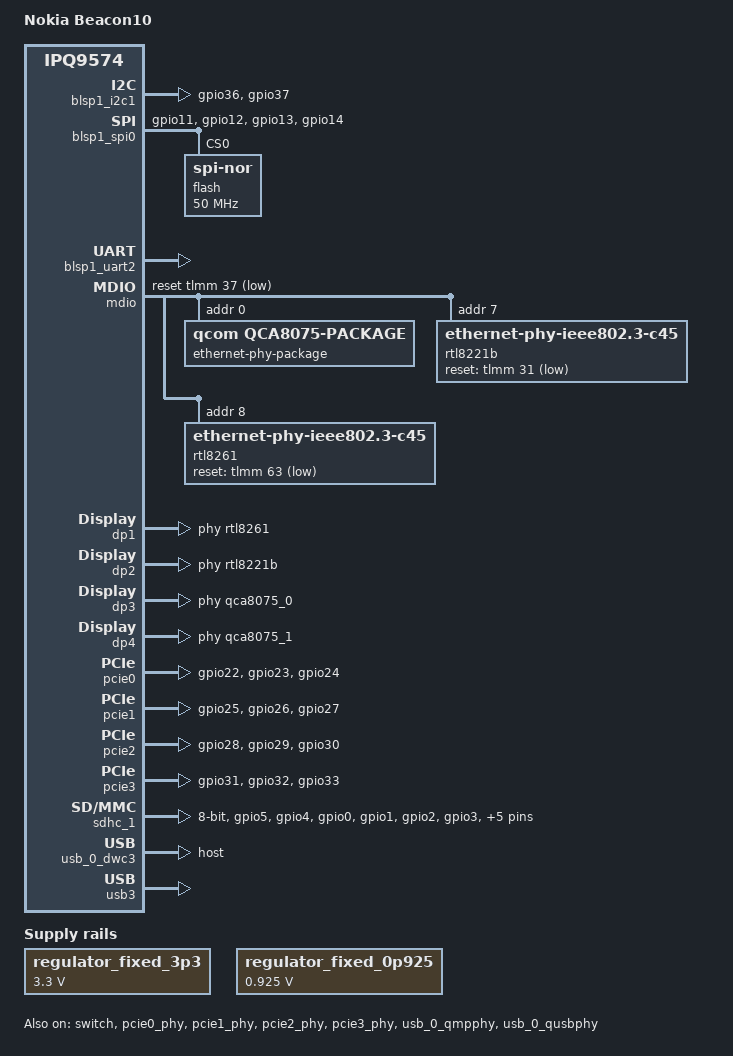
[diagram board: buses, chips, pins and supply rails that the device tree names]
// SPDX-License-Identifier: (GPL-2.0+ OR BSD-3-Clause)

/dts-v1/;

#include <dt-bindings/gpio/gpio.h>
#include "ipq9574.dtsi"

/ {
	model = "Nokia Beacon10";
	compatible = "Nokia,Beacon10", "qcom,ipq9574";

	aliases {
		serial0 = &blsp1_uart2;
		ethernet0 = &dp1;
		ethernet1 = &dp2;
		ethernet2 = &dp3;
		ethernet3 = &dp4;
	};

	chosen {
		stdout-path = "serial0:115200n8";
	};

	regulator_fixed_3p3: s3300 {
		compatible = "regulator-fixed";
		regulator-min-microvolt = <3300000>;
		regulator-max-microvolt = <3300000>;
		regulator-boot-on;
		regulator-always-on;
		regulator-name = "fixed_3p3";
	};

	regulator_fixed_0p925: s0925 {
		compatible = "regulator-fixed";
		regulator-min-microvolt = <925000>;
		regulator-max-microvolt = <925000>;
		regulator-boot-on;
		regulator-always-on;
		regulator-name = "fixed_0p925";
	};

};

&blsp1_i2c1 {
	pinctrl-0 = <&i2c1_default>;
	pinctrl-names = "default";
	status = "okay";
};

&blsp1_spi0 {
	pinctrl-0 = <&spi_0_default>;
	pinctrl-names = "default";
	status = "okay";

	flash@0 {
		compatible = "jedec,spi-nor";
		reg = <0>;
		#address-cells = <1>;
		#size-cells = <1>;
		spi-max-frequency = <50000000>;
	};
};

&blsp1_uart2 {
	pinctrl-0 = <&uart2_pins>;
	pinctrl-names = "default";
	status = "okay";
};

&mdio {
	status = "okay";
	pinctrl-0 = <&mdio_pins>;
	pinctrl-names = "default";
	reset-gpios = <&tlmm 37 GPIO_ACTIVE_LOW>;

	ethernet-phy-package@0 {
		#address-cells = <1>;
		#size-cells = <0>;
		compatible = "qcom,qca8075-package";
		reg = <0>;

		qca8075_0: ethernet-phy@0 {
			compatible = "ethernet-phy-ieee802.3-c22";
			reg = <0>;
		};

		qca8075_1: ethernet-phy@1 {
			compatible = "ethernet-phy-ieee802.3-c22";
			reg = <1>;
		};

		qca8075_2: ethernet-phy@2 {
			compatible = "ethernet-phy-ieee802.3-c22";
			reg = <2>;
		};

		qca8075_3: ethernet-phy@3 {
			compatible = "ethernet-phy-ieee802.3-c22";
			reg = <3>;
		};
	};

	rtl8221b: ethernet-phy@4 {
		compatible = "ethernet-phy-ieee802.3-c45";
		reg = <7>;
		reset-gpios = <&tlmm 31 GPIO_ACTIVE_LOW>;
	};

	rtl8261: ethernet-phy@5 {
		compatible = "ethernet-phy-ieee802.3-c45";
		reg = <8>;
		reset-gpios = <&tlmm 63 GPIO_ACTIVE_LOW>;
	};
};

 &switch {
 	status = "okay";

	pinctrl-names = "default";
                switch_lan_bmp = <(ESS_PORT1 | ESS_PORT2 | ESS_PORT3 | ESS_PORT4 | ESS_PORT5)>;
	switch_wan_bmp = <ESS_PORT6>;
	switch_mac_mode = <0x00>;  // PSGMII
	switch_mac_mode1 = <0x0e>; // 10GBase-R
	switch_mac_mode2 = <0x0d>; // UXSGMII
	bm_tick_mode = <0x00>;
	tm_tick_mode = <0x00>;

	qcom,port_phyinfo {
		
		port@1 {
			port_id = <1>;
			phy_address = <0x00>;
		};

		port@2 {
			port_id = <2>;
			phy_address = <0x01>;
		};

		port@5 {
			port_id = <5>;
			ethernet-phy-ieee802.3-c45;
			phy_address = <0x07>;
		};

		port@6 {
			port_id = <6>;
			ethernet-phy-ieee802.3-c45;
			phy_address = <0x08>;
		};
	};

};

&dp1 {
	status = "okay";
	label = "wan";
	phy-handle = <&rtl8261>;
};

&dp2 {
	status = "okay";
	label = "lan1";
	phy-handle = <&rtl8221b>;
};

&dp3{
	status = "okay";
	label = "lan2";
	phy-handle = <&qca8075_0>;
};

&dp4 {
	status = "okay";
	label = "lan3";
	phy-handle = <&qca8075_1>;
};

&pcie0 {
	pinctrl-0 = <&pcie0_default>;
	pinctrl-names = "default";

	perst-gpios = <&tlmm 23 GPIO_ACTIVE_LOW>;
	wake-gpios = <&tlmm 24 GPIO_ACTIVE_LOW>;
	status = "okay";
};

&pcie0_phy {
	status = "okay";
};

&pcie1 {
	pinctrl-0 = <&pcie1_default>;
	pinctrl-names = "default";

	perst-gpios = <&tlmm 26 GPIO_ACTIVE_LOW>;
	wake-gpios = <&tlmm 27 GPIO_ACTIVE_LOW>;
	status = "okay";
};

&pcie1_phy {
	status = "okay";
};

&pcie2 {
	pinctrl-0 = <&pcie2_default>;
	pinctrl-names = "default";

	perst-gpios = <&tlmm 29 GPIO_ACTIVE_LOW>;
	wake-gpios = <&tlmm 30 GPIO_ACTIVE_LOW>;
	status = "okay";
};

&pcie2_phy {
	status = "okay";
};

&pcie3 {
	pinctrl-0 = <&pcie3_default>;
	pinctrl-names = "default";

	perst-gpios = <&tlmm 32 GPIO_ACTIVE_LOW>;
	wake-gpios = <&tlmm 33 GPIO_ACTIVE_LOW>;
	status = "okay";
};

&pcie3_phy {
	status = "okay";
};

&rpm_requests {
	regulators {
		compatible = "qcom,rpm-mp5496-regulators";

		ipq9574_s1: s1 {
		/*
		 * During kernel bootup, the SoC runs at 800MHz with 875mV set by the bootloaders.
		 * During regulator registration, kernel not knowing the initial voltage,
		 * considers it as zero and brings up the regulators with minimum supported voltage.
		 * Update the regulator-min-microvolt with SVS voltage of 725mV so that
		 * the regulators are brought up with 725mV which is sufficient for all the
		 * corner parts to operate at 800MHz
		 */
			regulator-min-microvolt = <725000>;
			regulator-max-microvolt = <1075000>;
		};

		mp5496_l5: l5 {
			regulator-min-microvolt = <1800000>;
			regulator-max-microvolt = <1800000>;
			regulator-always-on;
			regulator-boot-on;
		};
	};
};

&sdhc_1 {
	bus-width = <8>;
	max-frequency = <384000000>;
	mmc-ddr-1_8v;
	mmc-hs200-1_8v;
	mmc-hs400-1_8v;
	mmc-hs400-enhanced-strobe;
	pinctrl-0 = <&sdc_default_state>;
	pinctrl-names = "default";
	status = "okay";
};

&sleep_clk {
	clock-frequency = <32000>;
};

&tlmm {
	sdc_default_state: sdc-default-state {
		clk-pins {
			pins = "gpio5";
			function = "sdc_clk";
			drive-strength = <8>;
			bias-disable;
		};

		cmd-pins {
			pins = "gpio4";
			function = "sdc_cmd";
			drive-strength = <8>;
			bias-pull-up;
		};

		data-pins {
			pins = "gpio0", "gpio1", "gpio2",
			       "gpio3", "gpio6", "gpio7",
			       "gpio8", "gpio9";
			function = "sdc_data";
			drive-strength = <8>;
			bias-pull-up;
		};

		rclk-pins {
			pins = "gpio10";
			function = "sdc_rclk";
			drive-strength = <8>;
			bias-pull-down;
		};
	};

	spi_0_default: spi-0-default-state {
		pins = "gpio11", "gpio12", "gpio13", "gpio14";
		function = "blsp0_spi";
		drive-strength = <8>;
		bias-disable;
	};

	pcie0_default: pcie0-default-state {
		clkreq-n-pins {
			pins = "gpio22";
			function = "pcie0_clk";
			drive-strength = <6>;
			bias-pull-up;
		};

		perst-n-pins {
			pins = "gpio23";
			function = "gpio";
			drive-strength = <8>;
			bias-pull-down;
			output-low;
		};

		wake-n-pins {
			pins = "gpio24";
			function = "pcie0_wake";
			drive-strength = <6>;
			bias-pull-up;
		};
	};

	pcie1_default: pcie1-default-state {
		clkreq-n-pins {
			pins = "gpio25";
			function = "pcie1_clk";
			drive-strength = <6>;
			bias-pull-up;
		};

		perst-n-pins {
			pins = "gpio26";
			function = "gpio";
			drive-strength = <8>;
			bias-pull-down;
			output-low;
		};

		wake-n-pins {
			pins = "gpio27";
			function = "pcie1_wake";
			drive-strength = <6>;
			bias-pull-up;
		};
	};

	pcie2_default: pcie2-default-state {
		clkreq-n-pins {
			pins = "gpio28";
			function = "pcie2_clk";
			drive-strength = <6>;
			bias-pull-up;
		};

		perst-n-pins {
			pins = "gpio29";
			function = "gpio";
			drive-strength = <8>;
			bias-pull-down;
			output-low;
		};

		wake-n-pins {
			pins = "gpio30";
			function = "pcie2_wake";
			drive-strength = <6>;
			bias-pull-up;
		};
	};

	pcie3_default: pcie3-default-state {
		clkreq-n-pins {
			pins = "gpio31";
			function = "pcie3_clk";
			drive-strength = <6>;
			bias-pull-up;
		};

		perst-n-pins {
			pins = "gpio32";
			function = "gpio";
			drive-strength = <8>;
			bias-pull-up;
			output-low;
		};

		wake-n-pins {
			pins = "gpio33";
			function = "pcie3_wake";
			drive-strength = <6>;
			bias-pull-up;
		};
	};

	i2c1_default: i2c1-default-state {
		pins = "gpio36", "gpio37";
		function = "blsp1_i2c";
		drive-strength = <8>;
		bias-pull-up;
	};

};

&usb_0_dwc3 {
	dr_mode = "host";
};

&usb_0_qmpphy {
	vdda-pll-supply = <&mp5496_l5>;
	vdda-phy-supply = <&regulator_fixed_0p925>;

	status = "okay";
};

&usb_0_qusbphy {
	vdd-supply = <&regulator_fixed_0p925>;
	vdda-pll-supply = <&mp5496_l5>;
	vdda-phy-dpdm-supply = <&regulator_fixed_3p3>;

	status = "okay";
};

&usb3 {
	status = "okay";
};

/*
 * The bootstrap pins for the board select the XO clock frequency,
 * which automatically enables the right dividers to ensure the
 * reference clock output from WiFi is 48 MHZ.
 */
&ref_48mhz_clk {
	clock-div = <1>;
	clock-mult = <1>;
};

/*
 * The frequency of xo_board_clk is fixed to 24 MHZ, which is routed
 * from WiFi output clock 48 MHZ divided by 2.
 */
&xo_board_clk {
	clock-div = <2>;
	clock-mult = <1>;
};

&xo_clk {
	clock-frequency = <48000000>;
};
